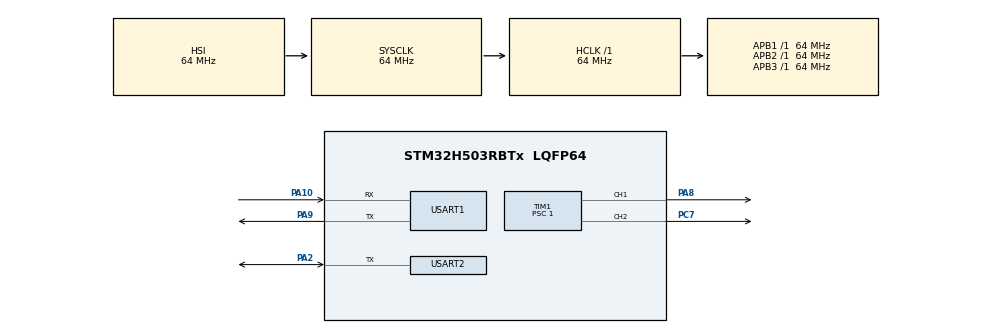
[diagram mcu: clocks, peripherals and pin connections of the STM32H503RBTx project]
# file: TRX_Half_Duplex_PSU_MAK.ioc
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BOOTPATH.BootPathName=LEGACY
BOOTPATH.UserSelectedBootPath=LEGACY
GPDMA1.CIRCULARMODE_GPDMACH0=DISABLE
GPDMA1.DESTINC_GPDMACH0=DMA_DINC_INCREMENTED
GPDMA1.DIRECTION_GPDMACH0=DMA_MEMORY_TO_PERIPH
GPDMA1.IPHANDLE_GPDMACH0-SIMPLEREQUEST_GPDMACH0=__NULL
GPDMA1.LINKALLOCATEDPORT_CIRCULAR_GPDMACH0=DMA_LINK_ALLOCATED_PORT1
GPDMA1.PRIORITY_GPDMACH0=DMA_LOW_PRIORITY_HIGH_WEIGHT
GPDMA1.REQUEST_GPDMACH0=GPDMA1_REQUEST_USART2_TX
GPDMA1.TRANSFERALLOCATEDPORTDEST_GPDMACH0=DMA_DEST_ALLOCATED_PORT1
Mcu.Family=STM32H5
Mcu.Name=STM32H503RBTx
Mcu.Package=LQFP64
NVIC.GPDMA1_Channel0_IRQn=true\:0\:0\:false\:false\:true\:false\:true\:true
NVIC.PriorityGroup=NVIC_PRIORITYGROUP_4
NVIC.USART2_IRQn=true\:0\:0\:false\:false\:true\:true\:true\:true
PA10.Mode=Asynchronous
PA10.Signal=USART1_RX
PA2.GPIO_PuPd=GPIO_PULLUP
PA2.Mode=Half_duplex(single_wire_mode)
PA2.Signal=USART2_TX
PA8.Signal=S_TIM1_CH1
PA9.Mode=Asynchronous
PA9.Signal=USART1_TX
PC7.Signal=S_TIM1_CH2
ProjectManager.HeapSize=0x200
ProjectManager.StackSize=0x400
ProjectManager.TargetToolchain=STM32CubeIDE
RCC.ADCFreq_Value=64000000
RCC.AHBFreq_Value=64000000
RCC.APB1Freq_Value=64000000
RCC.APB1TimFreq_Value=64000000
RCC.APB2Freq_Value=64000000
RCC.APB2TimFreq_Value=64000000
RCC.APB3Freq_Value=64000000
RCC.CSI_VALUE=4000000
RCC.CortexFreq_Value=64000000
RCC.EPOD_VALUE=4000000
RCC.HCLKFreq_Value=64000000
RCC.HSE_VALUE=25000000
RCC.HSI48_VALUE=48000000
RCC.HSIDiv=RCC_HSI_DIV1
RCC.HSI_VALUE=64000000
RCC.LSE_VALUE=32768
RCC.LSIRC_VALUE=32000
RCC.PLLFRACN=0
RCC.PLLN=32
RCC.SYSCLKFreq_VALUE=64000000
RCC.USBFreq_Value=48000000
RCC.VCOOutputFreq_Value=128000000
SH.S_TIM1_CH1.0=TIM1_CH1,PWM Generation1 CH1
SH.S_TIM1_CH2.0=TIM1_CH2,PWM Generation2 CH2
TIM1.Channel-PWM\ Generation1\ CH1=TIM_CHANNEL_1
TIM1.Channel-PWM\ Generation2\ CH2=TIM_CHANNEL_2
TIM1.PeriodNoDither=8191
TIM1.Prescaler=1
USART1.VirtualMode-Asynchronous=VM_ASYNC
USART2.BaudRate=9600
USART2.Mode=MODE_TX_RX
USART2.VirtualMode-Half_duplex(single_wire_mode)=VM_ASYNC
VP_BOOTPATH_VS_BOOTPATH.Mode=BP_Activate
VP_CORTEX_M33_NS_VS_Hclk.Mode=Hclk_Mode
VP_GPDMA1_VS_GPDMACH0.Mode=SIMPLEREQUEST_GPDMACH0
VP_MEMORYMAP_VS_MEMORYMAP.Mode=CurAppReg
VP_PWR_VS_DBSignals.Mode=DisableDeadBatterySignals
VP_PWR_VS_LPOM.Mode=PowerOptimisation
VP_PWR_VS_SECSignals.Mode=Security/Privilege
board=custom

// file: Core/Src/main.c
/* USER CODE BEGIN Header */
/**
 ******************************************************************************
 * @file           : main.c
 * @brief          : Main program body
 ******************************************************************************
 * @attention
 *
 * Copyright (c) 2024 STMicroelectronics.
 * All rights reserved.
 *
 * This software is licensed under terms that can be found in the LICENSE file
 * in the root directory of this software component.
 * If no LICENSE file comes with this software, it is provided AS-IS.
 *
 ******************************************************************************
 */
/* USER CODE END Header */
#include "main.h"

/* USER CODE BEGIN Includes */
#include <math.h>
#include <stdio.h>
#include <string.h>

/* USER CODE END Includes */

TIM_HandleTypeDef htim1;

UART_HandleTypeDef huart1;
UART_HandleTypeDef huart2;
DMA_HandleTypeDef handle_GPDMA1_Channel0;

/* USER CODE BEGIN PV */
void processBuffer();
void Beep_Beep(uint8_t cycle, uint16_t delay1, uint16_t delay2);
/* USER CODE END PV */

void SystemClock_Config(void);
static void MX_GPIO_Init(void);
static void MX_GPDMA1_Init(void);
static void MX_USART1_UART_Init(void);
static void MX_USART2_UART_Init(void);
static void MX_TIM1_Init(void);

/* USER CODE BEGIN 0 */
uint8_t request;
uint8_t rxData;
unsigned char RxData[64];
int before;
char voltage1[5], current1[5], SoC1[5], status1[10], SoH1[5];
char voltage2[5], current2[5], SoC2[5], status2[10], SoH2[5];
char temperature[5], activePowerSource[10], emergencybattery[10];
void __io_putchar(char ch) {
	HAL_UART_Transmit(&huart1, (uint8_t *)&ch, 1, 10);
}

/* USER CODE END 0 */

int main(void)
{

  /* MCU Configuration--------------------------------------------------------*/

  /* Reset of all peripherals, Initializes the Flash interface and the Systick. */
  HAL_Init();

  /* Configure the system clock */
  SystemClock_Config();

  /* Initialize all configured peripherals */
  MX_GPIO_Init();
  MX_GPDMA1_Init();
  MX_USART1_UART_Init();
  MX_USART2_UART_Init();
  MX_TIM1_Init();
  /* USER CODE BEGIN 2 */
  HAL_HalfDuplex_EnableReceiver(&huart2);
  Beep_Beep(3,50,50);
//  HAL_UARTEx_ReceiveToIdle_IT(&huart2, (uint8_t* )RxData, 30);
  /* USER CODE END 2 */

  /* Infinite loop */
  while (1)
  {

    /* USER CODE BEGIN 3 */

	  HAL_UART_Receive(&huart1, &rxData, 1, 50);
	  if (rxData == '1'){ //Hidupkan charger Batt1
		  request = 0x15;
		  HAL_UART_Transmit(&huart2, &request, 1, 1000);
		  printf("Hidupkan charger Batt1");
	  }
	  else if (rxData == '2') { //Hidupkan charger Batt2
		  request = 0x20;
		  HAL_UART_Transmit(&huart2, &request, 1, 1000);
		  printf("Hidupkan charger Batt2");
	  }
	  else if (rxData == '3') { //Hidupkan output Batt1
		  request = 0x25;
		  HAL_UART_Transmit(&huart2, &request, 1, 1000);
		  printf("Hidupkan output Batt1");
	  }
	  else if (rxData == '4') { //Hidupkan output Batt2
		  request = 0x30;
		  HAL_UART_Transmit(&huart2, &request, 1, 1000);
		  printf("Hidupkan output Batt2");
	  }
	  else if (rxData == '5') { //Hidupkan output Batt2
		  request = 0x35;
		  HAL_UART_Transmit(&huart2, &request, 1, 1000);
		  printf("Off all");
	  }
	  rxData = 0;

	  HAL_HalfDuplex_EnableTransmitter(&huart2);
	  HAL_UART_Transmit(&huart2, &request, 1, 200);
	  HAL_Delay(5);
	  HAL_HalfDuplex_EnableReceiver(&huart2);
	  request = 0x6A;
	  HAL_UART_Receive(&huart2, RxData, sizeof(RxData), 200);

	  processBuffer();
	  printf("voltage1: %s V | current1: %sA | capacity1: %s%% | status1: %s | SoH1: %s%%\n", voltage1, current1, SoC1, status1, SoH1);
	  printf("voltage2: %s V | current2: %sA | capacity2: %s%% | status2: %s | SoH2: %s%%\n", voltage2, current2, SoC2, status2, SoH2);
	  printf("temperature: %s C | activePowerSource: %s | emergencybattery: %s\n", temperature, activePowerSource, emergencybattery);
	  memset(RxData, 0, sizeof(RxData));
	  HAL_Delay(1000);
  }
  /* USER CODE END 3 */
}

void SystemClock_Config(void)
{
  RCC_OscInitTypeDef RCC_OscInitStruct = {0};
  RCC_ClkInitTypeDef RCC_ClkInitStruct = {0};

  /** Configure the main internal regulator output voltage
  */
  __HAL_PWR_VOLTAGESCALING_CONFIG(PWR_REGULATOR_VOLTAGE_SCALE3);

  while(!__HAL_PWR_GET_FLAG(PWR_FLAG_VOSRDY)) {}

  /** Initializes the RCC Oscillators according to the specified parameters
  * in the RCC_OscInitTypeDef structure.
  */
  RCC_OscInitStruct.OscillatorType = RCC_OSCILLATORTYPE_HSI;
  RCC_OscInitStruct.HSIState = RCC_HSI_ON;
  RCC_OscInitStruct.HSIDiv = RCC_HSI_DIV1;
  RCC_OscInitStruct.HSICalibrationValue = RCC_HSICALIBRATION_DEFAULT;
  RCC_OscInitStruct.PLL.PLLState = RCC_PLL_NONE;
  if (HAL_RCC_OscConfig(&RCC_OscInitStruct) != HAL_OK)
  {
    Error_Handler();
  }

  /** Initializes the CPU, AHB and APB buses clocks
  */
  RCC_ClkInitStruct.ClockType = RCC_CLOCKTYPE_HCLK|RCC_CLOCKTYPE_SYSCLK
                              |RCC_CLOCKTYPE_PCLK1|RCC_CLOCKTYPE_PCLK2
                              |RCC_CLOCKTYPE_PCLK3;
  RCC_ClkInitStruct.SYSCLKSource = RCC_SYSCLKSOURCE_HSI;
  RCC_ClkInitStruct.AHBCLKDivider = RCC_SYSCLK_DIV1;
  RCC_ClkInitStruct.APB1CLKDivider = RCC_HCLK_DIV1;
  RCC_ClkInitStruct.APB2CLKDivider = RCC_HCLK_DIV1;
  RCC_ClkInitStruct.APB3CLKDivider = RCC_HCLK_DIV1;

  if (HAL_RCC_ClockConfig(&RCC_ClkInitStruct, FLASH_LATENCY_3) != HAL_OK)
  {
    Error_Handler();
  }

  /** Configure the programming delay
  */
  __HAL_FLASH_SET_PROGRAM_DELAY(FLASH_PROGRAMMING_DELAY_1);
}

static void MX_GPDMA1_Init(void)
{

  /* Peripheral clock enable */
  __HAL_RCC_GPDMA1_CLK_ENABLE();

  /* GPDMA1 interrupt Init */
    HAL_NVIC_SetPriority(GPDMA1_Channel0_IRQn, 0, 0);
    HAL_NVIC_EnableIRQ(GPDMA1_Channel0_IRQn);

}

static void MX_TIM1_Init(void)
{

  TIM_MasterConfigTypeDef sMasterConfig = {0};
  TIM_OC_InitTypeDef sConfigOC = {0};
  TIM_BreakDeadTimeConfigTypeDef sBreakDeadTimeConfig = {0};

  htim1.Instance = TIM1;
  htim1.Init.Prescaler = 1;
  htim1.Init.CounterMode = TIM_COUNTERMODE_UP;
  htim1.Init.Period = 8191;
  htim1.Init.ClockDivision = TIM_CLOCKDIVISION_DIV1;
  htim1.Init.RepetitionCounter = 0;
  htim1.Init.AutoReloadPreload = TIM_AUTORELOAD_PRELOAD_DISABLE;
  if (HAL_TIM_PWM_Init(&htim1) != HAL_OK)
  {
    Error_Handler();
  }
  sMasterConfig.MasterOutputTrigger = TIM_TRGO_RESET;
  sMasterConfig.MasterOutputTrigger2 = TIM_TRGO2_RESET;
  sMasterConfig.MasterSlaveMode = TIM_MASTERSLAVEMODE_DISABLE;
  if (HAL_TIMEx_MasterConfigSynchronization(&htim1, &sMasterConfig) != HAL_OK)
  {
    Error_Handler();
  }
  sConfigOC.OCMode = TIM_OCMODE_PWM1;
  sConfigOC.Pulse = 0;
  sConfigOC.OCPolarity = TIM_OCPOLARITY_HIGH;
  sConfigOC.OCNPolarity = TIM_OCNPOLARITY_HIGH;
  sConfigOC.OCFastMode = TIM_OCFAST_DISABLE;
  sConfigOC.OCIdleState = TIM_OCIDLESTATE_RESET;
  sConfigOC.OCNIdleState = TIM_OCNIDLESTATE_RESET;
  if (HAL_TIM_PWM_ConfigChannel(&htim1, &sConfigOC, TIM_CHANNEL_1) != HAL_OK)
  {
    Error_Handler();
  }
  if (HAL_TIM_PWM_ConfigChannel(&htim1, &sConfigOC, TIM_CHANNEL_2) != HAL_OK)
  {
    Error_Handler();
  }
  sBreakDeadTimeConfig.OffStateRunMode = TIM_OSSR_DISABLE;
  sBreakDeadTimeConfig.OffStateIDLEMode = TIM_OSSI_DISABLE;
  sBreakDeadTimeConfig.LockLevel = TIM_LOCKLEVEL_OFF;
  sBreakDeadTimeConfig.DeadTime = 0;
  sBreakDeadTimeConfig.BreakState = TIM_BREAK_DISABLE;
  sBreakDeadTimeConfig.BreakPolarity = TIM_BREAKPOLARITY_HIGH;
  sBreakDeadTimeConfig.BreakFilter = 0;
  sBreakDeadTimeConfig.BreakAFMode = TIM_BREAK_AFMODE_INPUT;
  sBreakDeadTimeConfig.Break2State = TIM_BREAK2_DISABLE;
  sBreakDeadTimeConfig.Break2Polarity = TIM_BREAK2POLARITY_HIGH;
  sBreakDeadTimeConfig.Break2Filter = 0;
  sBreakDeadTimeConfig.Break2AFMode = TIM_BREAK_AFMODE_INPUT;
  sBreakDeadTimeConfig.AutomaticOutput = TIM_AUTOMATICOUTPUT_DISABLE;
  if (HAL_TIMEx_ConfigBreakDeadTime(&htim1, &sBreakDeadTimeConfig) != HAL_OK)
  {
    Error_Handler();
  }
  HAL_TIM_MspPostInit(&htim1);

}

static void MX_USART1_UART_Init(void)
{

  huart1.Instance = USART1;
  huart1.Init.BaudRate = 115200;
  huart1.Init.WordLength = UART_WORDLENGTH_8B;
  huart1.Init.StopBits = UART_STOPBITS_1;
  huart1.Init.Parity = UART_PARITY_NONE;
  huart1.Init.Mode = UART_MODE_TX_RX;
  huart1.Init.HwFlowCtl = UART_HWCONTROL_NONE;
  huart1.Init.OverSampling = UART_OVERSAMPLING_16;
  huart1.Init.OneBitSampling = UART_ONE_BIT_SAMPLE_DISABLE;
  huart1.Init.ClockPrescaler = UART_PRESCALER_DIV1;
  huart1.AdvancedInit.AdvFeatureInit = UART_ADVFEATURE_NO_INIT;
  if (HAL_UART_Init(&huart1) != HAL_OK)
  {
    Error_Handler();
  }
  if (HAL_UARTEx_SetTxFifoThreshold(&huart1, UART_TXFIFO_THRESHOLD_1_8) != HAL_OK)
  {
    Error_Handler();
  }
  if (HAL_UARTEx_SetRxFifoThreshold(&huart1, UART_RXFIFO_THRESHOLD_1_8) != HAL_OK)
  {
    Error_Handler();
  }
  if (HAL_UARTEx_DisableFifoMode(&huart1) != HAL_OK)
  {
    Error_Handler();
  }

}

static void MX_USART2_UART_Init(void)
{

  huart2.Instance = USART2;
  huart2.Init.BaudRate = 9600;
  huart2.Init.WordLength = UART_WORDLENGTH_8B;
  huart2.Init.StopBits = UART_STOPBITS_1;
  huart2.Init.Parity = UART_PARITY_NONE;
  huart2.Init.Mode = UART_MODE_TX_RX;
  huart2.Init.HwFlowCtl = UART_HWCONTROL_NONE;
  huart2.Init.OverSampling = UART_OVERSAMPLING_16;
  huart2.Init.OneBitSampling = UART_ONE_BIT_SAMPLE_DISABLE;
  huart2.Init.ClockPrescaler = UART_PRESCALER_DIV1;
  huart2.AdvancedInit.AdvFeatureInit = UART_ADVFEATURE_NO_INIT;
  if (HAL_HalfDuplex_Init(&huart2) != HAL_OK)
  {
    Error_Handler();
  }
  if (HAL_UARTEx_SetTxFifoThreshold(&huart2, UART_TXFIFO_THRESHOLD_1_8) != HAL_OK)
  {
    Error_Handler();
  }
  if (HAL_UARTEx_SetRxFifoThreshold(&huart2, UART_RXFIFO_THRESHOLD_1_8) != HAL_OK)
  {
    Error_Handler();
  }
  if (HAL_UARTEx_DisableFifoMode(&huart2) != HAL_OK)
  {
    Error_Handler();
  }

}

static void MX_GPIO_Init(void)
{

  /* GPIO Ports Clock Enable */
  __HAL_RCC_GPIOA_CLK_ENABLE();
  __HAL_RCC_GPIOC_CLK_ENABLE();

}

/* USER CODE BEGIN 4 */
void HAL_UART_RxCpltCallback(UART_HandleTypeDef *huart) {
    if (huart->Instance == USART2) {

    }
}

void processBuffer(){
	if(RxData[0] != '\0'){
		//Process of demultiplexing battery data 1
		memcpy(voltage1, RxData, 4);
		voltage1[4] = '\0';

		memcpy(current1, RxData + 5, 5);
		current1[5] = '\0';

		memcpy(SoC1, RxData + 11, 3);
		SoC1[3] = '\0';

		memcpy(status1, RxData + 16, 1);
		status1[1] = '\0';
		if (strcmp(status1, "1") == 0) {
			strcpy(status1, "charge");
		} else {
			strcpy(status1, "discharge");
		}

		memcpy(SoH1, RxData + 18, 3);
		SoH1[4] = '\0';

		//Process of demultiplexing battery data 2
		memcpy(voltage2, RxData + 22, 4);
		voltage2[4] = '\0';

		memcpy(current2, RxData + 27, 5);
		current2[5] = '\0';

		memcpy(SoC2, RxData + 33, 3);
		SoC2[3] = '\0';

		memcpy(status2, RxData + 38, 1);
		status2[1] = '\0';
		if (strcmp(status2, "1") == 0) {
			strcpy(status2, "charge");
		} else {
			strcpy(status2, "discharge");
		}

		memcpy(SoH2, RxData + 40, 3);
		SoH2[4] = '\0';

		//Process of demultiplexing temperature and activepowersource
		memcpy(temperature, RxData + 44, 4);
		temperature[4] = '\0';

		memcpy(activePowerSource, RxData + 49, 1);
		activePowerSource[1] = '\0';
		if (strcmp(activePowerSource, "1") == 0) {
			strcpy(activePowerSource, "Baterai 1");
		} else {
			strcpy(activePowerSource, "Baterai 2");
		}

		memcpy(emergencybattery, RxData + 51, 1);
		emergencybattery[1] = '\0';
		if (strcmp(emergencybattery, "1") == 0) {
			strcpy(emergencybattery, "Baterai 1");
		}
		else if (strcmp(emergencybattery, "2") == 0){
			strcpy(emergencybattery, "Baterai 2");
		}
		else{
			strcpy(emergencybattery, "Normal");
		}
	}
}

void Beep_Beep(uint8_t cycle, uint16_t delay1, uint16_t delay2) {
	HAL_TIM_PWM_Start(&htim1, TIM_CHANNEL_1);
	for (int i = 0; i < cycle; i++) {
		HAL_TIM_PWM_Start(&htim1, TIM_CHANNEL_1);
		__HAL_TIM_SET_COMPARE(&htim1, TIM_CHANNEL_1, 3000);
		HAL_Delay(delay1);
		__HAL_TIM_SET_COMPARE(&htim1, TIM_CHANNEL_1, 0);
		HAL_Delay(50);
		__HAL_TIM_SET_COMPARE(&htim1, TIM_CHANNEL_1, 1000);
		HAL_Delay(delay2);
		__HAL_TIM_SET_COMPARE(&htim1, TIM_CHANNEL_1, 0);
		HAL_Delay(50);
	}
}
/* USER CODE END 4 */

void Error_Handler(void)
{
	__disable_irq();
	while (1)
	{
	}
}
